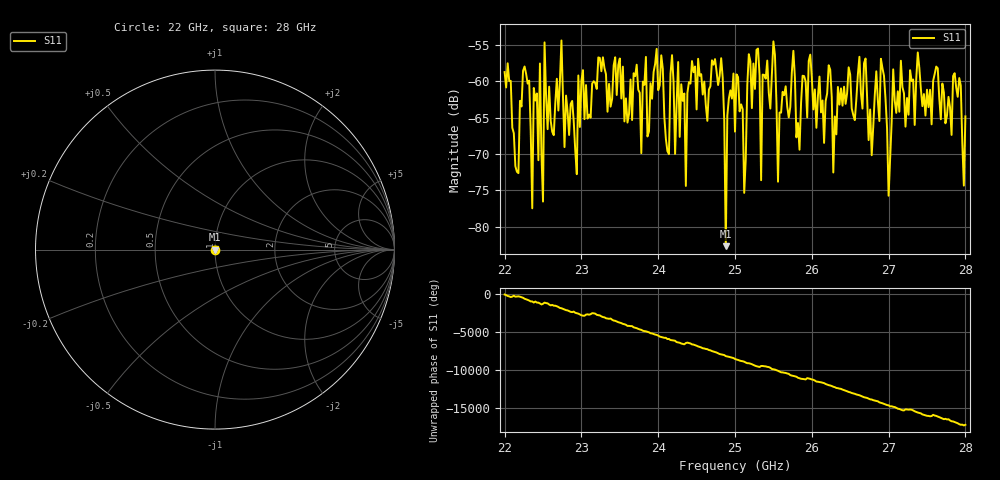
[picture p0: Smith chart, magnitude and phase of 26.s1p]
#  HZ  S  RI  R  50.00
! Rohde & Schwarz ZVA40 4Ports - Version 3.90 - 1145.1110k42 SN: 100403
! Date: 2023-10-04 11:36:24
! Measurement: S12
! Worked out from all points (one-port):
!   301 points, 22 GHz to 28 GHz, reference 50 ohm
!   lowest |S11| = -82.7 dB at 24.88 GHz (marker M1), VSWR 1.00, Z = 50 + j0.0059 ohm
!   |S11| at or under -10 dB: start of sweep to end of sweep
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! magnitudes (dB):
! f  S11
! 22 GHz  -58.7
! 22.18 GHz  -72.6
! 22.32 GHz  -59.9
! 22.36 GHz  -77.5
! 22.46 GHz  -57.6
! 22.5 GHz  -76.5
! 22.52 GHz  -54.7
! 22.76 GHz  -62.1
! 23.5 GHz  -56.9
! 24.26 GHz  -57.4
! 24.36 GHz  -74.4
! 24.44 GHz  -57.2
! 24.82 GHz  -56.8
! 24.88 GHz  -82.7
! 24.92 GHz  -62.4
! 25 GHz  -66.9
! 25.3 GHz  -55.5
! 25.34 GHz  -73.6
! 25.5 GHz  -54.5
! 25.56 GHz  -73.8
! 25.76 GHz  -55.8
! 26.28 GHz  -72.6
! 26.5 GHz  -59.1
! 26.9 GHz  -56.9
! 27 GHz  -75.7
! 27.06 GHz  -58.4
! 27.26 GHz  -64.6
! 28 GHz  -64.8
